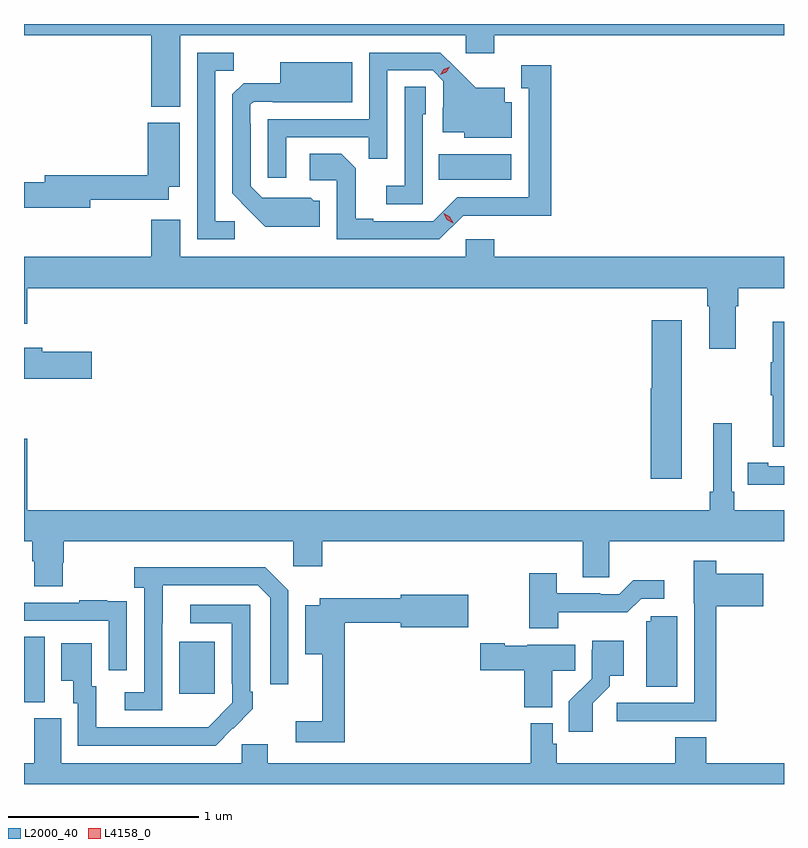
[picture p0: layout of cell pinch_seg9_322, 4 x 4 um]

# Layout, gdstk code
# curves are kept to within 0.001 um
import gdstk
lib = gdstk.Library(unit=1e-6, precision=1e-09)
def R(c, l, rs):  # rectangles x0, y0, x1, y1
    for r in rs: c.add(gdstk.rectangle(r[:2], r[2:], *l))
def P(c, l, *ps):  # polygons
    for p in ps: c.add(gdstk.Polygon(p, *l))
L2000_40 = (2000, 40)
L4158_0 = (4158, 0)

pinch_seg9_322 = lib.new_cell('pinch_seg9_322')
R(pinch_seg9_322, L2000_40, [(596.722,1187.581,596.83,1187.924), (597.539,1187.625,597.727,1187.899), (598.906,1190.33,599.287,1190.464)])
P(pinch_seg9_322, L2000_40, [(597.544,1191.092),(599.046,1191.092),(599.046,1190.997),(599.198,1190.997),(599.198,1191.092),(600.722,1191.092),(600.722,1191.15),(596.722,1191.15),(596.722,1191.092),(597.392,1191.092),(597.392,1190.714),(597.544,1190.714)],
  [(597.832,1190.112),(597.729,1190.112),(597.729,1190.905),(597.825,1190.905),(597.825,1191),(597.633,1191),(597.633,1190.016),(597.832,1190.016)],
  [(598.101,1190.553),(598.537,1190.553),(598.537,1190.44),(598.635,1190.44),(598.635,1190.907),(598.872,1190.907),(598.929,1190.85),(598.929,1190.708),(598.925,1190.708),(598.925,1190.579),(599.04,1190.579),(599.04,1190.552),(599.29,1190.552),(599.29,1190.737),(599.251,1190.737),(599.251,1190.815),(599.099,1190.815),(598.912,1191),(598.539,1191),(598.539,1190.649),(598.005,1190.649),(598.005,1190.34),(598.101,1190.34)],
  [(598.279,1190.22),(598.248,1190.22),(598.232,1190.236),(597.975,1190.235),(597.915,1190.295),(597.915,1190.624),(597.912,1190.624),(597.912,1190.724),(597.93,1190.742),(598.03,1190.742),(598.03,1190.738),(598.45,1190.738),(598.45,1190.95),(598.07,1190.95),(598.07,1190.839),(597.878,1190.839),(597.819,1190.78),(597.819,1190.258),(597.991,1190.084),(598.279,1190.084)],
  [(599.034,1190.142),(599.497,1190.141),(599.497,1190.932),(599.339,1190.932),(599.339,1190.811),(599.378,1190.811),(599.378,1190.238),(599.001,1190.238),(598.875,1190.112),(598.561,1190.112),(598.561,1190.125),(598.467,1190.125),(598.467,1190.392),(598.391,1190.468),(598.227,1190.468),(598.227,1190.328),(598.368,1190.328),(598.368,1190.016),(598.908,1190.016)],
  [(598.821,1190.676),(598.836,1190.676),(598.836,1190.819),(598.725,1190.819),(598.725,1190.299),(598.629,1190.299),(598.629,1190.202),(598.821,1190.202)],
  [(597.07,1190.226),(597.484,1190.226),(597.484,1190.294),(597.541,1190.294),(597.541,1190.629),(597.374,1190.629),(597.374,1190.354),(596.831,1190.354),(596.831,1190.318),(596.722,1190.318),(596.722,1190.183),(597.07,1190.183)],
  [(600.469,1189.664),(600.482,1189.664),(600.482,1189.76),(600.722,1189.76),(600.722,1189.924),(599.198,1189.924),(599.198,1190.017),(599.046,1190.017),(599.046,1189.924),(597.544,1189.924),(597.544,1190.119),(597.392,1190.119),(597.392,1189.924),(596.722,1189.924),(596.722,1189.572),(596.74,1189.572),(596.74,1189.76),(600.317,1189.76),(600.317,1189.664),(600.329,1189.664),(600.329,1189.44),(600.469,1189.44)],
  [(600.184,1189.591),(600.026,1189.591),(600.026,1189.233),(600.02,1189.233),(600.02,1188.756),(600.184,1188.756)],
  [(600.722,1189.582),(600.662,1189.582),(600.662,1189.369),(600.651,1189.369),(600.651,1189.195),(600.662,1189.195),(600.662,1188.924),(600.722,1188.924)],
  [(597.079,1189.425),(596.818,1189.425),(596.818,1189.446),(596.722,1189.446),(596.722,1189.283),(597.079,1189.283)],
  [(596.925,1188.315),(596.93,1188.315),(596.93,1188.428),(598.14,1188.428),(598.14,1188.297),(598.292,1188.297),(598.292,1188.428),(599.663,1188.428),(599.663,1188.238),(599.802,1188.238),(599.802,1188.428),(600.722,1188.428),(600.722,1188.592),(600.461,1188.592),(600.461,1188.688),(600.447,1188.688),(600.447,1189.048),(600.35,1189.048),(600.35,1188.688),(600.331,1188.688),(600.331,1188.592),(596.74,1188.592),(596.74,1188.967),(596.722,1188.967),(596.722,1188.428),(596.765,1188.428),(596.765,1188.322),(596.777,1188.322),(596.777,1188.19),(596.925,1188.19)],
  [(600.722,1188.822),(600.64,1188.822),(600.64,1188.842),(600.532,1188.842),(600.532,1188.726),(600.64,1188.726),(600.64,1188.725),(600.722,1188.725)],
  [(600.065,1187.481),(600.365,1187.481),(600.365,1188.086),(600.613,1188.086),(600.613,1188.256),(600.365,1188.256),(600.365,1188.325),(600.248,1188.325),(600.248,1188.102),(600.249,1188.102),(600.249,1187.577),(599.841,1187.577),(599.841,1187.479),(600.065,1187.479)],
  [(597.45,1187.995),(597.451,1188.195),(597.951,1188.195),(598.017,1188.129),(598.017,1187.676),(598.113,1187.676),(598.113,1188.171),(597.992,1188.292),(597.303,1188.292),(597.303,1188.182),(597.354,1188.182),(597.354,1187.634),(597.252,1187.634),(597.252,1187.538),(597.45,1187.538)],
  [(599.535,1188.054),(599.897,1188.054),(599.97,1188.126),(600.091,1188.126),(600.091,1188.223),(599.929,1188.223),(599.856,1188.15),(599.756,1188.15),(599.756,1188.153),(599.527,1188.153),(599.527,1188.259),(599.38,1188.259),(599.38,1187.969),(599.535,1187.969)],
  [(598.409,1187.998),(598.706,1187.998),(598.706,1187.975),(599.059,1187.975),(599.059,1188.145),(598.706,1188.145),(598.706,1188.127),(598.278,1188.127),(598.278,1188.091),(598.202,1188.091),(598.202,1187.834),(598.292,1187.834),(598.292,1187.479),(598.152,1187.479),(598.152,1187.37),(598.409,1187.37)],
  [(597.264,1188.002),(597.263,1188.002),(597.263,1188.111),(597.161,1188.111),(597.161,1188.118),(597.013,1188.118),(597.013,1188.105),(596.722,1188.105),(596.722,1188.009),(597.168,1188.009),(597.168,1187.748),(597.264,1187.748)],
  [(597.821,1187.443),(597.822,1187.442),(597.927,1187.547),(597.927,1187.635),(597.912,1187.635),(597.912,1188.093),(597.597,1188.093),(597.597,1187.997),(597.816,1187.997),(597.816,1187.677),(597.819,1187.677),(597.819,1187.577),(597.691,1187.449),(597.103,1187.448),(597.103,1187.664),(597.079,1187.664),(597.079,1187.89),(596.918,1187.89),(596.918,1187.693),(596.981,1187.693),(596.981,1187.574),(597.006,1187.574),(597.006,1187.352),(597.73,1187.352)],
  [(600.16,1188.033),(600.021,1188.033),(600.021,1188.006),(599.996,1188.006),(599.996,1187.662),(600.16,1187.662)],
  [(599.716,1187.575),(599.806,1187.665),(599.806,1187.72),(599.878,1187.72),(599.878,1187.905),(599.714,1187.905),(599.714,1187.856),(599.709,1187.856),(599.709,1187.705),(599.59,1187.586),(599.59,1187.424),(599.716,1187.424)],
  [(599.503,1187.746),(599.624,1187.746),(599.624,1187.884),(599.37,1187.884),(599.37,1187.878),(599.253,1187.878),(599.253,1187.891),(599.124,1187.891),(599.124,1187.749),(599.354,1187.749),(599.354,1187.555),(599.503,1187.555)],
  [(600.722,1187.26),(600.314,1187.26),(600.314,1187.396),(600.149,1187.396),(600.149,1187.26),(599.525,1187.26),(599.525,1187.361),(599.505,1187.361),(599.505,1187.47),(599.389,1187.47),(599.389,1187.26),(598.006,1187.26),(598.006,1187.358),(597.867,1187.358),(597.867,1187.26),(596.917,1187.26),(596.917,1187.496),(596.777,1187.496),(596.777,1187.26),(596.722,1187.26),(596.722,1187.15),(600.722,1187.15)])
P(pinch_seg9_322, L4158_0, [(598.98,1190.102),(598.948,1190.121),(598.93,1190.154),(598.93,1190.154),(598.931,1190.154),(598.962,1190.135),(598.98,1190.103),(598.98,1190.102)],
  [(598.914,1190.882),(598.914,1190.882),(598.932,1190.911),(598.962,1190.926),(598.963,1190.926),(598.963,1190.925),(598.945,1190.896),(598.914,1190.882)])

lib.write_gds('pinch_seg9_322.gds')
